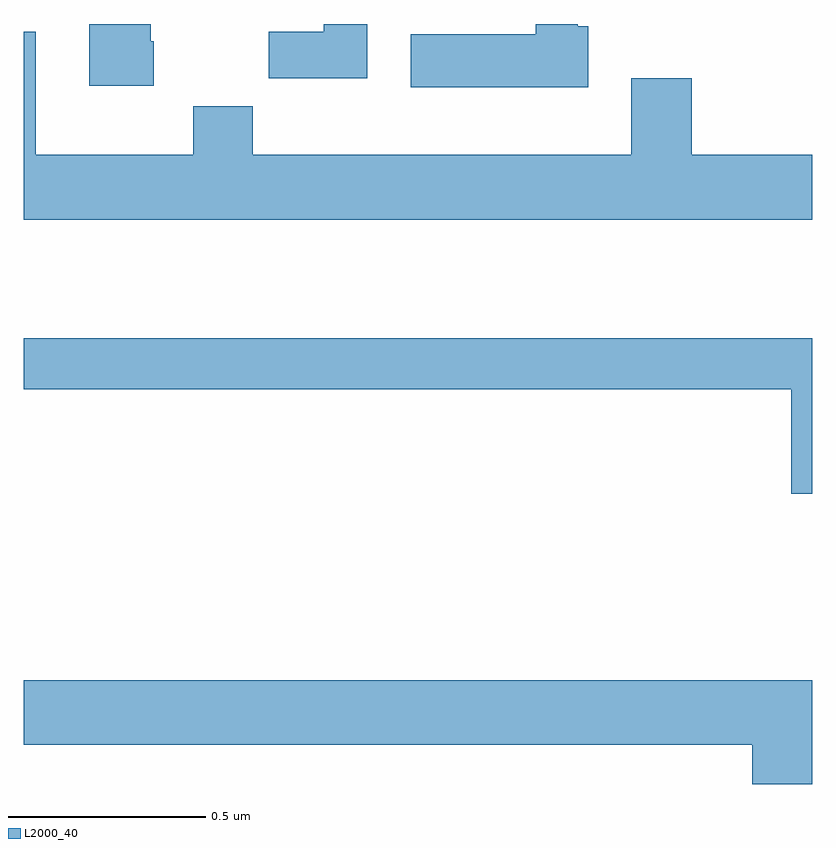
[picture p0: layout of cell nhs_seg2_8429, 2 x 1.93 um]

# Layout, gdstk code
import gdstk
lib = gdstk.Library(unit=1e-6, precision=1e-09)
def P(c, l, *ps):  # polygons
    for p in ps: c.add(gdstk.Polygon(p, *l))
L2000_40 = (2000, 40)

nhs_seg2_8429 = lib.new_cell('nhs_seg2_8429')
P(nhs_seg2_8429, L2000_40, [(216.871,646.8),(216.761,646.8),(216.761,646.78),(216.622,646.78),(216.622,646.662),(216.871,646.662)],
  [(216.33,646.756),(216.322,646.756),(216.322,646.8),(216.167,646.8),(216.167,646.644),(216.33,646.644)],
  [(217.432,646.794),(217.405,646.794),(217.405,646.8),(217.298,646.8),(217.298,646.774),(216.981,646.774),(216.981,646.64),(217.432,646.64)],
  [(218,646.468),(217.694,646.468),(217.694,646.663),(217.541,646.663),(217.541,646.468),(216.581,646.468),(216.581,646.592),(216.43,646.592),(216.43,646.468),(216.031,646.468),(216.031,646.78),(216,646.78),(216,646.304),(218,646.304)],
  [(218,646.003),(216,646.003),(216,645.874),(217.946,645.874),(217.946,645.609),(218,645.609)],
  [(217.999,644.972),(218,644.972),(218,645.136),(216,645.136),(216,644.972),(217.847,644.972),(217.847,644.873),(217.999,644.873)])

lib.write_gds('nhs_seg2_8429.gds')
